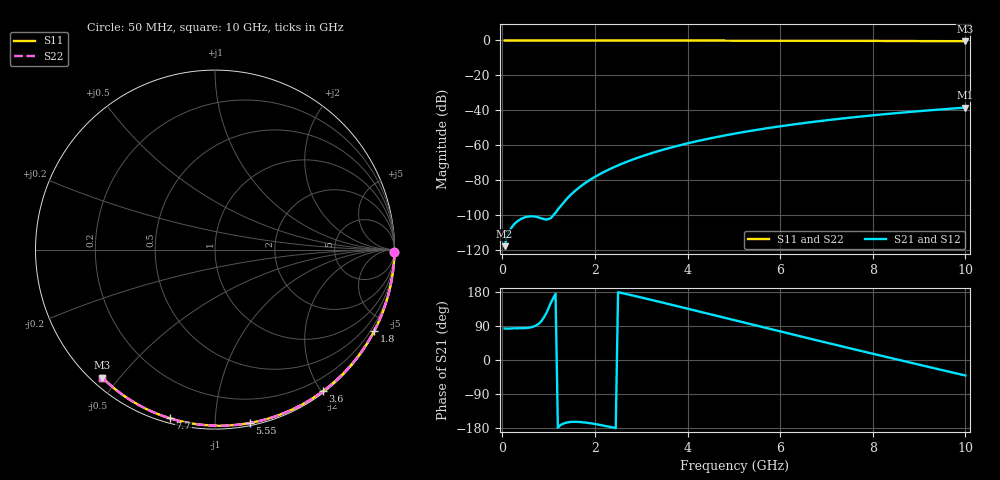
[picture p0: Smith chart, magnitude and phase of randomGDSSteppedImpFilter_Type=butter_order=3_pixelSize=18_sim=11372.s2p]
! freq	dB(S11)	phase(S11)	dB(S12)	phase(S12)
!  dB(S21)	phase(S21)	dB(S22)	phase(S22)
!S-par simulation data
#  GHz  S  DB  R 50
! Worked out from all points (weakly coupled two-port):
!   200 points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, 50 MHz to 10 GHz, reference 50 ohm
!   highest |S21| = -38.41 dB at 10 GHz (marker M1); lowest = -117.7 dB at 50 MHz (marker M2)
!   lowest |S11| = -0.4 dB at 10 GHz (marker M3), VSWR 39.12, Z = 1.54 - j22.6 ohm
!   |S11| at or under -10 dB: nowhere
!   |S22| runs from -0.4 to 0.0 dB; largest |S21 - S12| = 0
!   S11 on the Smith chart (normalised r, x): 50 MHz: open; 1.8 GHz: 0.04, -4.18; 3.6 GHz: 0.02, -2.02; 5.55 GHz: 0.02, -1.22; 7.7 GHz: 0.02, -0.77; 10 GHz: 0.03, -0.45
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0.05  -0.00 -0.8  -117.70 83.3  -117.70 83.3  -0.00 -0.8
0.9  -0.02 -13.6  -102.23 112.8  -102.23 112.8  -0.02 -13.6
1.75  -0.03 -26.2  -82.33 -164.5  -82.33 -164.5  -0.03 -26.2
1.8  -0.03 -26.9  -81.39 -165.2  -81.39 -165.2  -0.03 -26.9
1.85  -0.04 -27.6  -80.51 -166.0  -80.51 -166.0  -0.04 -27.6
1.9  -0.04 -28.4  -79.66 -166.9  -79.66 -166.9  -0.04 -28.4
2.05  -0.04 -30.6  -77.29 -169.9  -77.29 -169.9  -0.04 -30.6
2.25  -0.04 -33.5  -74.49 -174.6  -74.49 -174.6  -0.04 -33.5
2.45  -0.05 -36.4  -72.02 -179.7  -72.02 -179.7  -0.05 -36.4
2.65  -0.05 -39.2  -69.81 174.9  -69.81 174.9  -0.05 -39.2
3  -0.06 -44.2  -66.40 165.0  -66.40 165.0  -0.06 -44.2
3.4  -0.07 -49.8  -63.07 153.3  -63.07 153.3  -0.07 -49.8
3.6  -0.07 -52.6  -61.58 147.4  -61.58 147.4  -0.07 -52.6
4.3  -0.09 -62.2  -57.07 126.5  -57.07 126.5  -0.09 -62.2
5.05  -0.11 -72.1  -53.14 103.9  -53.14 103.9  -0.11 -72.1
5.55  -0.13 -78.6  -50.91 88.9  -50.91 88.9  -0.13 -78.6
6.1  -0.15 -85.6  -48.73 72.5  -48.73 72.5  -0.15 -85.6
6.7  -0.18 -93.0  -46.63 54.6  -46.63 54.6  -0.18 -93.0
7.7  -0.24 -105.0  -43.63 25.2  -43.63 25.2  -0.24 -105.0
8.35  -0.29 -112.6  -41.95 6.4  -41.95 6.4  -0.29 -112.6
9.15  -0.36 -121.7  -40.12 -16.6  -40.12 -16.6  -0.36 -121.7
10  -0.44 -131.3  -38.41 -40.9  -38.41 -40.9  -0.44 -131.3
